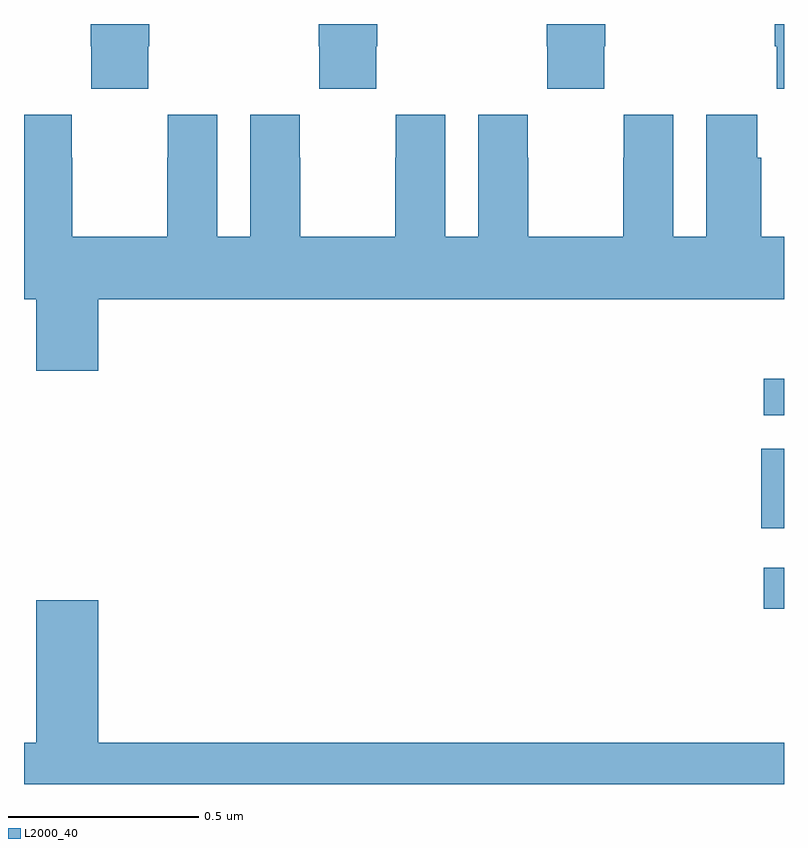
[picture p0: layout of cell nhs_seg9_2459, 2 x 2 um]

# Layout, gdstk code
import gdstk
lib = gdstk.Library(unit=1e-6, precision=1e-09)
def R(c, l, rs):  # rectangles x0, y0, x1, y1
    for r in rs: c.add(gdstk.rectangle(r[:2], r[2:], *l))
def P(c, l, *ps):  # polygons
    for p in ps: c.add(gdstk.Polygon(p, *l))
L2000_40 = (2000, 40)

nhs_seg9_2459 = lib.new_cell('nhs_seg9_2459')
R(nhs_seg9_2459, L2000_40, [(142.947,1172.961,143,1173.069), (142.94,1173.173,143,1173.382), (142.947,1173.471,143,1173.567)])
P(nhs_seg9_2459, L2000_40, [(141.327,1174.441),(141.33,1174.441),(141.33,1174.5),(141.175,1174.5),(141.175,1174.441),(141.177,1174.441),(141.177,1174.329),(141.327,1174.329)],
  [(141.927,1174.441),(141.93,1174.441),(141.93,1174.5),(141.775,1174.5),(141.775,1174.441),(141.777,1174.441),(141.777,1174.329),(141.927,1174.329)],
  [(142.527,1174.441),(142.53,1174.441),(142.53,1174.5),(142.375,1174.5),(142.375,1174.441),(142.377,1174.441),(142.377,1174.329),(142.527,1174.329)],
  [(143,1174.5),(142.975,1174.5),(142.975,1174.441),(142.981,1174.441),(142.981,1174.329),(143,1174.329)],
  [(141.196,1173.776),(143,1173.776),(143,1173.94),(142.94,1173.94),(142.94,1174.148),(142.93,1174.148),(142.93,1174.261),(142.796,1174.261),(142.796,1173.94),(142.708,1173.94),(142.708,1174.261),(142.578,1174.261),(142.578,1174.148),(142.577,1174.148),(142.577,1173.94),(142.327,1173.94),(142.327,1174.148),(142.326,1174.148),(142.326,1174.261),(142.196,1174.261),(142.196,1173.94),(142.108,1173.94),(142.108,1174.261),(141.978,1174.261),(141.978,1174.148),(141.977,1174.148),(141.977,1173.94),(141.727,1173.94),(141.727,1174.148),(141.726,1174.148),(141.726,1174.261),(141.596,1174.261),(141.596,1173.94),(141.508,1173.94),(141.508,1174.261),(141.378,1174.261),(141.378,1174.148),(141.377,1174.148),(141.377,1173.94),(141.127,1173.94),(141.127,1174.148),(141.126,1174.148),(141.126,1174.261),(141,1174.261),(141,1173.776),(141.032,1173.776),(141.032,1173.588),(141.196,1173.588)],
  [(143,1172.608),(141.196,1172.608),(141.196,1172.983),(141.032,1172.983),(141.032,1172.608),(141,1172.608),(141,1172.5),(143,1172.5)])

lib.write_gds('nhs_seg9_2459.gds')
